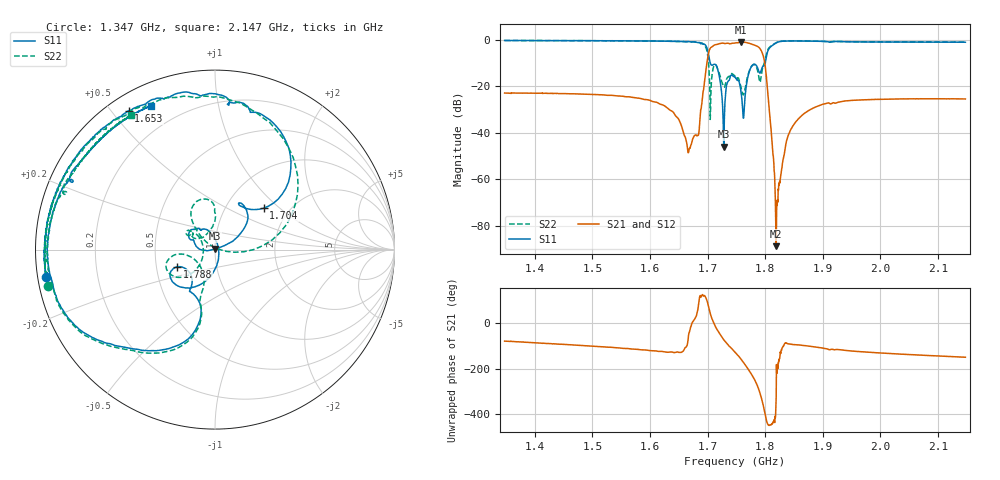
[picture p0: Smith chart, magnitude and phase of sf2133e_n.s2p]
# Hz S RI R 50
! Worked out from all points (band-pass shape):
!   1601 points, 1.347 GHz to 2.147 GHz, reference 50 ohm
!   highest |S21| = -1.08 dB at 1.758 GHz (marker M1); lowest = -88.6 dB at 1.819 GHz (marker M2)
!   |S21| within 3 dB of the highest: 1.704 GHz to 1.791 GHz (87.63 MHz wide, 5.01 % of centre)
!   lowest |S11| = -45.9 dB at 1.728 GHz (marker M3), VSWR 1.01, Z = 49.8 + j0.442 ohm
!   |S11| at or under -10 dB: 1.704 GHz to 1.8 GHz (95.67 MHz wide, 5.46 % of centre)
!   |S22| runs from -34.3 to -0.4 dB; largest |S21 - S12| = 0.0043
!   S11 on the Smith chart (normalised r, x): 1.347 GHz: 0.02, -0.08; 1.653 GHz: 0.06, +0.55; 1.704 GHz: 1.49, +0.79; 1.788 GHz: 0.64, -0.13; 2.147 GHz: 0.09, +0.64
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1.3475e9  -0.941 -0.1552  0.0135 -0.0699  0.0134 -0.0698  -0.9309 -0.2051
1.481e9  -0.9271 0.1804  -0.00926 -0.067  -0.00949 -0.0668  -0.9378 0.1147
1.6145e9  -0.6996 0.6051  -0.0243 -0.0359  -0.0241 -0.0357  -0.7532 0.5376
1.6535e9  -0.4805 0.7725  -0.00955 -0.012  -0.0095 -0.012  -0.555 0.7237
1.6675e9  -0.3342 0.8387  0.00302 -0.00294  0.00292 -0.00294  -0.4053 0.7932
1.682e9  -0.0834 0.8578  0.00578 0.00661  0.00571 0.00652  -0.1481 0.8531
1.6965e9  0.3658 0.6573  -0.0792 0.1793  -0.079 0.1794  0.4181 0.5503
1.7035e9  0.2707 0.2306  0.3671 0.4902  0.3688 0.4922  0.1097 -0.0147
1.713e9  0.1571 0.249  0.7544 -0.1672  0.7536 -0.1658  -0.0807 0.2792
1.728e9  -0.00239 0.00444  0.2439 -0.7962  0.2431 -0.7946  -0.0486 0.0839
1.736e9  -0.1182 0.0508  -0.1015 -0.8232  -0.1011 -0.8266  -0.1369 0.083
1.7475e9  -0.1047 0.1182  -0.5133 -0.6682  -0.5122 -0.6685  -0.13 0.0992
1.758e9  -0.00816 0.075  -0.822 -0.3239  -0.8206 -0.3238  -0.0778 0.0521
1.7635e9  0.0214 -0.025  -0.8736 -0.0437  -0.874 -0.044  -0.0668 -0.0282
1.772e9  -0.0685 -0.1873  -0.7322 0.3942  -0.7335 0.3919  -0.1499 -0.1434
1.7875e9  -0.2114 -0.0956  0.1469 0.6859  0.1469 0.6872  -0.1925 -0.0248
1.8005e9  -0.0774 -0.326  0.1508 -0.1824  0.1507 -0.1827  -0.0782 -0.3884
1.819e9  -0.6964 -0.4823  3.07e-05 2.05e-05  1.85e-05 -2.19e-05  -0.6994 -0.4902
1.8415e9  -0.9266 -0.098  -0.000228 -0.00984  -0.00031 -0.00977  -0.9263 -0.1344
1.881e9  -0.8881 0.2514  -0.00723 -0.0319  -0.00734 -0.032  -0.9075 0.1919
2.0145e9  -0.6167 0.6347  -0.036 -0.0384  -0.0359 -0.0382  -0.6863 0.5667
2.1475e9  -0.359 0.798  -0.0459 -0.0268  -0.0459 -0.0268  -0.4688 0.7484
